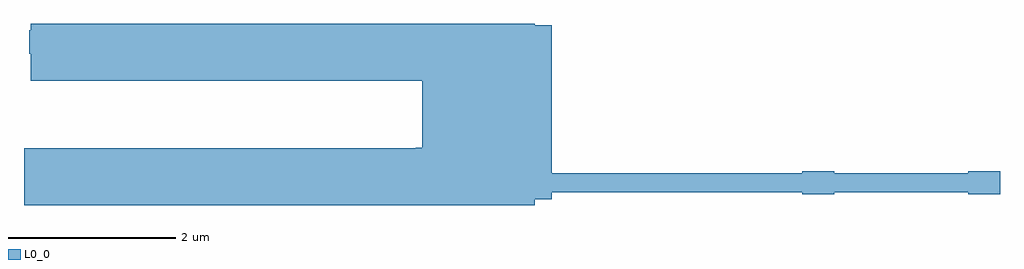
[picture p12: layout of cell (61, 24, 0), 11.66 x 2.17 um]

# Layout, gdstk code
import gdstk
lib = gdstk.Library(unit=1e-6, precision=1e-09)
def P(c, l, *ps):  # polygons
    for p in ps: c.add(gdstk.Polygon(p, *l))
L0_0 = (0, 0)

c__61__24__0_ = lib.new_cell('(61, 24, 0)')
P(c__61__24__0_, L0_0, [(938.66,988.26),(939.04,988.26),(939.04,987.98),(938.66,987.98),(938.66,988.26)],
  [(929.42,989.94),(929.8,989.94),(929.8,989.66),(929.42,989.66),(929.42,989.94)],
  [(929.36,988.53),(934.04,988.53),(934.04,988.54),(934.115,988.54),(934.115,989.34),(929.44,989.34),(929.44,990.02),(935.46,990.02),(935.46,990),(935.665,990),(935.665,987.92),(935.46,987.92),(935.46,987.85),(929.36,987.85),(929.36,988.53)],
  [(940.64,988.26),(941.02,988.26),(941.02,987.98),(940.64,987.98),(940.64,988.26)],
  [(935.55,988.235),(938.965,988.235),(938.965,988.005),(935.55,988.005),(935.55,988.235)],
  [(938.735,988.235),(940.945,988.235),(940.945,988.005),(938.735,988.005),(938.735,988.235)],
  [(940.64,988.26),(941.02,988.26),(941.02,987.98),(940.64,987.98),(940.64,988.26)],
  [(938.66,988.26),(939.04,988.26),(939.04,987.98),(938.66,987.98),(938.66,988.26)],
  [(938.735,988.235),(940.945,988.235),(940.945,988.005),(938.735,988.005),(938.735,988.235)],
  [(929.36,988.53),(934.04,988.53),(934.04,988.54),(934.115,988.54),(934.115,989.34),(929.44,989.34),(929.44,990.02),(935.46,990.02),(935.46,990),(935.665,990),(935.665,987.92),(935.46,987.92),(935.46,987.85),(929.36,987.85),(929.36,988.53)],
  [(929.42,989.94),(929.8,989.94),(929.8,989.66),(929.42,989.66),(929.42,989.94)])

lib.write_gds('_61__24__0_.gds')
